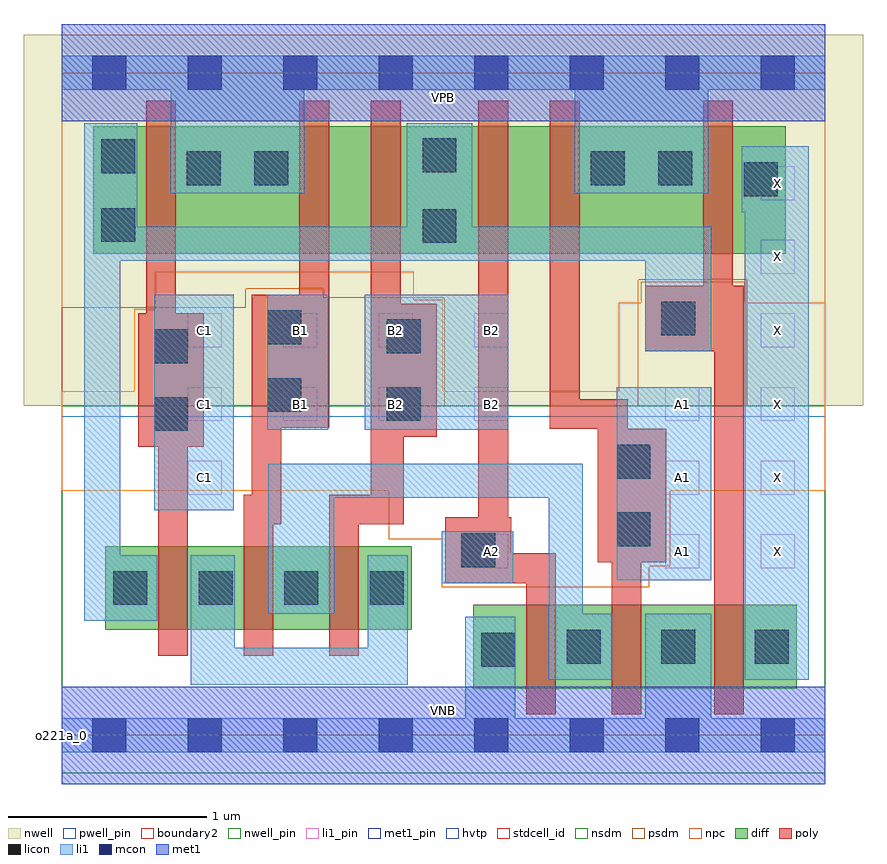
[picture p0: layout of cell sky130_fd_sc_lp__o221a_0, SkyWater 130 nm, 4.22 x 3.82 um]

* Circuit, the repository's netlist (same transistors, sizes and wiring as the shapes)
* Copyright 2020 The SkyWater PDK Authors
*
* Licensed under the Apache License, Version 2.0 (the "License");
* you may not use this file except in compliance with the License.
* You may obtain a copy of the License at
*
*     https://www.apache.org/licenses/LICENSE-2.0
*
* Unless required by applicable law or agreed to in writing, software
* distributed under the License is distributed on an "AS IS" BASIS,
* WITHOUT WARRANTIES OR CONDITIONS OF ANY KIND, either express or implied.
* See the License for the specific language governing permissions and
* limitations under the License.
*
* SPDX-License-Identifier: Apache-2.0

.SUBCKT sky130_fd_sc_lp__o221a_0 A1 A2 B1 B2 C1 VGND VNB VPB VPWR X
*.PININFO A1:I A2:I B1:I B2:I C1:I VGND:I VNB:I VPB:I VPWR:I X:O
MMPA0 VPWR A1 sndA1 VPB sky130_fd_pr__pfet_01v8_hvt m=1 w=0.64U l=0.15U mult=1
+ sa=0.265 sb=0.265 sd=0.28 area=0.063 perim=1.14
MMPA1 sndA1 A2 y VPB sky130_fd_pr__pfet_01v8_hvt m=1 w=0.64U l=0.15U mult=1 sa=0.265
+ sb=0.265 sd=0.28 area=0.063 perim=1.14
MMPB0 VPWR B1 sndB1 VPB sky130_fd_pr__pfet_01v8_hvt m=1 w=0.64U l=0.15U mult=1
+ sa=0.265 sb=0.265 sd=0.28 area=0.063 perim=1.14
MMPB1 sndB1 B2 y VPB sky130_fd_pr__pfet_01v8_hvt m=1 w=0.64U l=0.15U mult=1 sa=0.265
+ sb=0.265 sd=0.28 area=0.063 perim=1.14
MMPC0 VPWR C1 y VPB sky130_fd_pr__pfet_01v8_hvt m=1 w=0.64U l=0.15U mult=1 sa=0.265
+ sb=0.265 sd=0.28 area=0.063 perim=1.14
MMIPX X y VPWR VPB sky130_fd_pr__pfet_01v8_hvt m=1 w=0.64U l=0.15U mult=1 sa=0.265
+ sb=0.265 sd=0.28 area=0.063 perim=1.14
MMNA0 pndA A1 VGND VNB sky130_fd_pr__nfet_01v8 m=1 w=0.42U l=0.15U mult=1 sa=0.265
+ sb=0.265 sd=0.28 area=0.063 perim=1.14
MMNA1 pndA A2 VGND VNB sky130_fd_pr__nfet_01v8 m=1 w=0.42U l=0.15U mult=1 sa=0.265
+ sb=0.265 sd=0.28 area=0.063 perim=1.14
MMNB0 pndB B1 pndA VNB sky130_fd_pr__nfet_01v8 m=1 w=0.42U l=0.15U mult=1 sa=0.265
+ sb=0.265 sd=0.28 area=0.063 perim=1.14
MMNB1 pndB B2 pndA VNB sky130_fd_pr__nfet_01v8 m=1 w=0.42U l=0.15U mult=1 sa=0.265
+ sb=0.265 sd=0.28 area=0.063 perim=1.14
MMNC0 y C1 pndB VNB sky130_fd_pr__nfet_01v8 m=1 w=0.42U l=0.15U mult=1 sa=0.265
+ sb=0.265 sd=0.28 area=0.063 perim=1.14
MMINX X y VGND VNB sky130_fd_pr__nfet_01v8 m=1 w=0.42U l=0.15U mult=1 sa=0.265
+ sb=0.265 sd=0.28 area=0.063 perim=1.14
.ENDS sky130_fd_sc_lp__o221a_0

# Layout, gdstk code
import gdstk
lib = gdstk.Library(unit=1e-6, precision=1e-09)
def R(c, l, rs):  # rectangles x0, y0, x1, y1
    for r in rs: c.add(gdstk.rectangle(r[:2], r[2:], *l))
def A(c, l, x, y, w, h, nx, ny, dx, dy):  # array of equal rectangles
    R(c, l, [(x+i*dx, y+j*dy, x+i*dx+w, y+j*dy+h) for i in range(nx) for j in range(ny)])
def P(c, l, *ps):  # polygons
    for p in ps: c.add(gdstk.Polygon(p, *l))
nwell_pin = (64, 16)
nwell = (64, 20)
diff = (65, 20)
poly = (66, 20)
licon = (66, 44)
li1_pin = (67, 16)
li1 = (67, 20)
mcon = (67, 44)
met1_pin = (68, 16)
met1 = (68, 20)
hvtp = (78, 44)
stdcell_id = (81, 4)
nsdm = (93, 44)
psdm = (94, 20)
npc = (95, 20)
pwell_pin = (122, 16)
boundary2 = (236, 0)

sky130_fd_sc_lp__o221a_0 = lib.new_cell('sky130_fd_sc_lp__o221a_0')
R(sky130_fd_sc_lp__o221a_0, nwell_pin, [(0,3.085,3.84,3.33)])
R(sky130_fd_sc_lp__o221a_0, nwell, [(-0.19,1.655,4.03,3.52)])
R(sky130_fd_sc_lp__o221a_0, diff, [(2.07,0.235,3.695,0.655), (0.22,0.53,1.76,0.95), (0.16,2.42,3.64,3.06)])
P(sky130_fd_sc_lp__o221a_0, poly, [(3.43,2.26),(3.375,2.26),(3.375,3.19),(3.225,3.19),(3.225,2.26),(2.935,2.26),(2.935,1.93),(3.28,1.93),(3.28,0.105),(3.43,0.105)],
  [(3.04,1.54),(2.845,1.54),(2.845,1.69),(2.605,1.69),(2.605,3.19),(2.455,3.19),(2.455,1.54),(2.695,1.54),(2.695,0.87),(2.765,0.87),(2.765,0.105),(2.915,0.105),(2.915,0.87),(3.04,0.87)],
  [(1.885,2.17),(1.705,2.17),(1.705,3.19),(1.555,3.19),(1.555,1.21),(1.345,1.21),(1.345,0.4),(1.495,0.4),(1.495,1.06),(1.72,1.06),(1.72,1.5),(1.885,1.5)],
  [(1.345,3.19),(1.195,3.19),(1.195,2.215),(0.955,2.215),(0.955,1.21),(0.915,1.21),(0.915,0.4),(1.065,0.4),(1.065,1.06),(1.105,1.06),(1.105,1.545),(1.345,1.545)],
  [(0.715,2.12),(0.575,2.12),(0.575,3.19),(0.425,3.19),(0.425,2.12),(0.385,2.12),(0.385,1.45),(0.485,1.45),(0.485,0.4),(0.635,0.4),(0.635,1.45),(0.715,1.45)],
  [(2.485,0.915),(2.26,0.915),(2.26,1.095),(2.245,1.095),(2.245,3.19),(2.095,3.19),(2.095,1.095),(1.93,1.095),(1.93,0.765),(2.335,0.765),(2.335,0.105),(2.485,0.105)])
A(sky130_fd_sc_lp__o221a_0, licon, 0.26, 0.655, 0.17, 0.17, 4, 1, 0.43, 0)
R(sky130_fd_sc_lp__o221a_0, licon, [(2.11,0.345,2.28,0.515), (2.54,0.36,2.71,0.53), (3.015,0.36,3.185,0.53), (3.485,0.36,3.655,0.53), (2.01,0.845,2.18,1.015), (2.79,0.95,2.96,1.12), (2.79,1.29,2.96,1.46), (0.465,1.53,0.635,1.7), (1.635,1.58,1.805,1.75), (1.035,1.625,1.205,1.795), (0.465,1.87,0.635,2.04), (1.635,1.92,1.805,2.09), (1.035,1.965,1.205,2.135), (3.015,2.01,3.185,2.18), (1.815,2.475,1.985,2.645), (0.2,2.48,0.37,2.65), (3.43,2.71,3.6,2.88), (0.63,2.765,0.8,2.935), (0.97,2.765,1.14,2.935), (2.66,2.765,2.83,2.935), (3,2.765,3.17,2.935), (0.2,2.825,0.37,2.995), (1.815,2.83,1.985,3)])
A(sky130_fd_sc_lp__o221a_0, li1_pin, 3.035, 0.84, 0.17, 0.17, 1, 3, 0, 0.37)
A(sky130_fd_sc_lp__o221a_0, li1_pin, 3.515, 0.84, 0.17, 0.17, 1, 6, 0, 0.37)
A(sky130_fd_sc_lp__o221a_0, li1_pin, 0.635, 1.58, 0.17, 0.17, 4, 2, 0.48, 0.37)
R(sky130_fd_sc_lp__o221a_0, li1_pin, [(2.075,0.84,2.245,1.01), (0.635,1.21,0.805,1.38)])
R(sky130_fd_sc_lp__o221a_0, li1, [(1.91,0.765,2.27,1.025), (2.79,0.78,3.265,1.75), (0.465,1.13,0.865,2.215), (1.035,1.535,1.34,2.215), (1.525,1.535,2.245,2.215)])
P(sky130_fd_sc_lp__o221a_0, li1, [(3.84,3.415),(0,3.415),(0,3.245),(0.55,3.245),(0.55,2.725),(1.22,2.725),(1.22,3.245),(2.58,3.245),(2.58,2.725),(3.25,2.725),(3.25,3.245),(3.84,3.245)],
  [(2.765,0.61),(2.62,0.61),(2.62,1.365),(1.04,1.365),(1.04,0.61),(1.37,0.61),(1.37,1.195),(2.45,1.195),(2.45,0.28),(2.765,0.28)],
  [(3.265,2.555),(2.065,2.555),(2.065,3.075),(1.735,3.075),(1.735,2.555),(0.38,2.555),(0.38,3.075),(0.115,3.075),(0.115,0.575),(0.48,0.575),(0.48,0.905),(0.295,0.905),(0.295,2.385),(2.935,2.385),(2.935,1.93),(3.265,1.93)],
  [(3.755,2.96),(3.42,2.96),(3.42,2.63),(3.435,2.63),(3.435,0.28),(3.755,0.28)],
  [(1.74,0.905),(1.54,0.905),(1.54,0.44),(0.87,0.44),(0.87,0.905),(0.65,0.905),(0.65,0.255),(1.74,0.255)],
  [(3.84,0.085),(3.265,0.085),(3.265,0.61),(2.935,0.61),(2.935,0.085),(2.28,0.085),(2.28,0.595),(2.03,0.595),(2.03,0.085),(0,0.085),(0,-0.085),(3.84,-0.085)])
A(sky130_fd_sc_lp__o221a_0, mcon, 0.155, -0.085, 0.17, 0.17, 8, 2, 0.48, 3.33)
R(sky130_fd_sc_lp__o221a_0, met1_pin, [(0,0,3.84,0.245), (0,3.085,3.84,3.33)])
R(sky130_fd_sc_lp__o221a_0, met1, [(0,-0.245,3.84,0.245), (0,3.085,3.84,3.575)])
R(sky130_fd_sc_lp__o221a_0, hvtp, [(0,1.6,3.84,3.33)])
R(sky130_fd_sc_lp__o221a_0, stdcell_id, [(0,0,3.84,3.33)])
R(sky130_fd_sc_lp__o221a_0, nsdm, [(0,-0.19,3.84,1.655)])
P(sky130_fd_sc_lp__o221a_0, psdm, [(3.84,3.52),(0,3.52),(0,2.15),(0.925,2.15),(0.925,2.245),(1.315,2.245),(1.315,2.2),(1.925,2.2),(1.925,1.655),(2.9,1.655),(2.9,2.29),(3.445,2.29),(3.445,1.655),(3.84,1.655)])
P(sky130_fd_sc_lp__o221a_0, npc, [(3.84,2.175),(3.435,2.175),(3.435,2.28),(2.915,2.28),(2.915,2.175),(2.8,2.175),(2.8,1.73),(1.915,1.73),(1.915,2.19),(1.77,2.19),(1.77,2.33),(0.47,2.33),(0.47,2.14),(0.365,2.14),(0.365,1.73),(0,1.73),(0,1.23),(1.645,1.23),(1.645,0.985),(1.91,0.985),(1.91,0.745),(2.955,0.745),(2.955,0.85),(3.06,0.85),(3.06,1.23),(3.84,1.23)])
R(sky130_fd_sc_lp__o221a_0, pwell_pin, [(0,0,3.84,0.245)])
R(sky130_fd_sc_lp__o221a_0, boundary2, [(0,0,3.84,3.33)])
sky130_fd_sc_lp__o221a_0.add(gdstk.Label('VNB', (1.92,0.123), layer=64, texttype=59))
sky130_fd_sc_lp__o221a_0.add(gdstk.Label('VPB', (1.92,3.208), layer=64, texttype=5))
sky130_fd_sc_lp__o221a_0.add(gdstk.Label('o221a_0', (0,0), layer=83, texttype=44))
sky130_fd_sc_lp__o221a_0.add(gdstk.Label('VPWR', (1.92,3.208), layer=68, texttype=5))
sky130_fd_sc_lp__o221a_0.add(gdstk.Label('VGND', (1.92,0.123), layer=68, texttype=5))
sky130_fd_sc_lp__o221a_0.add(gdstk.Label('A2', (2.16,0.925), layer=67, texttype=5))
sky130_fd_sc_lp__o221a_0.add(gdstk.Label('B1', (1.2,1.665), layer=67, texttype=5))
sky130_fd_sc_lp__o221a_0.add(gdstk.Label('B1', (1.2,2.035), layer=67, texttype=5))
sky130_fd_sc_lp__o221a_0.add(gdstk.Label('B2', (1.68,1.665), layer=67, texttype=5))
sky130_fd_sc_lp__o221a_0.add(gdstk.Label('B2', (1.68,2.035), layer=67, texttype=5))
sky130_fd_sc_lp__o221a_0.add(gdstk.Label('B2', (2.16,1.665), layer=67, texttype=5))
sky130_fd_sc_lp__o221a_0.add(gdstk.Label('B2', (2.16,2.035), layer=67, texttype=5))
sky130_fd_sc_lp__o221a_0.add(gdstk.Label('C1', (0.72,1.295), layer=67, texttype=5))
sky130_fd_sc_lp__o221a_0.add(gdstk.Label('C1', (0.72,1.665), layer=67, texttype=5))
sky130_fd_sc_lp__o221a_0.add(gdstk.Label('C1', (0.72,2.035), layer=67, texttype=5))
sky130_fd_sc_lp__o221a_0.add(gdstk.Label('A1', (3.12,0.925), layer=67, texttype=5))
sky130_fd_sc_lp__o221a_0.add(gdstk.Label('A1', (3.12,1.295), layer=67, texttype=5))
sky130_fd_sc_lp__o221a_0.add(gdstk.Label('A1', (3.12,1.665), layer=67, texttype=5))
sky130_fd_sc_lp__o221a_0.add(gdstk.Label('X', (3.6,0.925), layer=67, texttype=5))
sky130_fd_sc_lp__o221a_0.add(gdstk.Label('X', (3.6,1.295), layer=67, texttype=5))
sky130_fd_sc_lp__o221a_0.add(gdstk.Label('X', (3.6,1.665), layer=67, texttype=5))
sky130_fd_sc_lp__o221a_0.add(gdstk.Label('X', (3.6,2.035), layer=67, texttype=5))
sky130_fd_sc_lp__o221a_0.add(gdstk.Label('X', (3.6,2.405), layer=67, texttype=5))
sky130_fd_sc_lp__o221a_0.add(gdstk.Label('X', (3.6,2.775), layer=67, texttype=5))

lib.write_gds('sky130_fd_sc_lp__o221a_0.gds')
